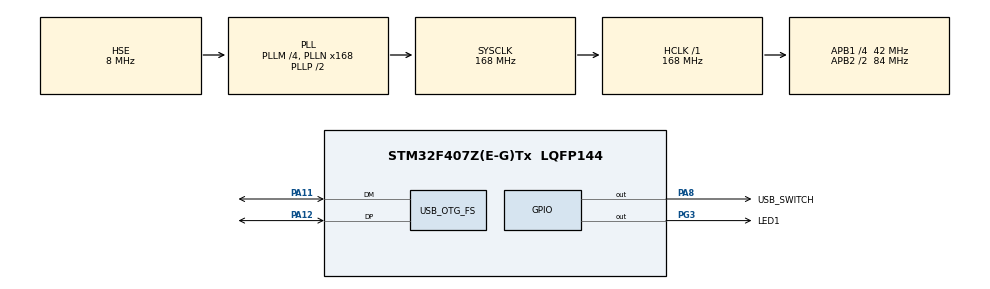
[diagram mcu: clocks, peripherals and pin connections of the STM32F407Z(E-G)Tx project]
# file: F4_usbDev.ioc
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Mcu.Family=STM32F4
Mcu.Name=STM32F407Z(E-G)Tx
Mcu.Package=LQFP144
NVIC.OTG_FS_IRQn=true\:0\:0\:false\:false\:true\:false\:true
NVIC.PriorityGroup=NVIC_PRIORITYGROUP_4
PA11.Mode=Device_Only
PA11.Signal=USB_OTG_FS_DM
PA12.GPIO_PuPd=GPIO_PULLUP
PA12.Mode=Device_Only
PA12.Signal=USB_OTG_FS_DP
PA13.Mode=Serial_Wire
PA13.Signal=SYS_JTMS-SWDIO
PA14.Mode=Serial_Wire
PA14.Signal=SYS_JTCK-SWCLK
PA8.GPIO_Label=USB_SWITCH
PA8.Signal=GPIO_Output
PC14-OSC32_IN.Mode=LSE-External-Oscillator
PC14-OSC32_IN.Signal=RCC_OSC32_IN
PC15-OSC32_OUT.Mode=LSE-External-Oscillator
PC15-OSC32_OUT.Signal=RCC_OSC32_OUT
PG3.GPIO_Label=LED1
PG3.Signal=GPIO_Output
PH0-OSC_IN.Mode=HSE-External-Oscillator
PH0-OSC_IN.Signal=RCC_OSC_IN
PH1-OSC_OUT.Mode=HSE-External-Oscillator
PH1-OSC_OUT.Signal=RCC_OSC_OUT
ProjectManager.HeapSize=0x200
ProjectManager.StackSize=0x400
ProjectManager.TargetToolchain=STM32CubeIDE
RCC.48MHZClocksFreq_Value=48000000
RCC.AHBFreq_Value=168000000
RCC.APB1CLKDivider=RCC_HCLK_DIV4
RCC.APB1Freq_Value=42000000
RCC.APB1TimFreq_Value=84000000
RCC.APB2CLKDivider=RCC_HCLK_DIV2
RCC.APB2Freq_Value=84000000
RCC.APB2TimFreq_Value=168000000
RCC.CortexFreq_Value=168000000
RCC.HCLKFreq_Value=168000000
RCC.HSE_VALUE=8000000
RCC.HSI_VALUE=16000000
RCC.PLLM=4
RCC.PLLN=168
RCC.PLLQ=7
RCC.SYSCLKFreq_VALUE=168000000
RCC.SYSCLKSource=RCC_SYSCLKSOURCE_PLLCLK
RCC.VCOOutputFreq_Value=336000000
USB_DEVICE.CLASS_NAME_FS=HID
USB_DEVICE.VirtualMode-HID_FS=Hid
USB_DEVICE.VirtualModeFS=Hid_FS
USB_OTG_FS.VirtualMode=Device_Only
VP_USB_DEVICE_VS_USB_DEVICE_HID_FS.Mode=HID_FS
board=custom

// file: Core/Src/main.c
/* USER CODE BEGIN Header */
/**
  ******************************************************************************
  * @file           : main.c
  * @brief          : Main program body
  ******************************************************************************
  * @attention
  *
  * <h2><center>&copy; Copyright (c) 2020 STMicroelectronics.
  * All rights reserved.</center></h2>
  *
  * This software component is licensed by ST under BSD 3-Clause license,
  * the "License"; You may not use this file except in compliance with the
  * License. You may obtain a copy of the License at:
  *                        opensource.org/licenses/BSD-3-Clause
  *
  ******************************************************************************
  */
/* USER CODE END Header */

#include "main.h"
#include "usb_device.h"
#include "gpio.h"

/* USER CODE BEGIN Includes */
#include "usbd_hid.h"
#include "usb_device.h"
/* USER CODE END Includes */

/* USER CODE BEGIN PTD */
struct mouseHID_t {
	unsigned char reportid;
	unsigned char buttons;
	char x;
	char y;
	char wheel;
  };
/* USER CODE END PTD */

void SystemClock_Config(void);

int main(void)
{

  /* MCU Configuration--------------------------------------------------------*/

  /* Reset of all peripherals, Initializes the Flash interface and the Systick. */
  HAL_Init();

  /* Configure the system clock */
  SystemClock_Config();

  /* Initialize all configured peripherals */
  MX_GPIO_Init();
  MX_USB_DEVICE_Init();
  /* USER CODE BEGIN 2 */

  HAL_Delay(1000);
  HAL_GPIO_WritePin(USB_SWITCH_GPIO_Port, USB_SWITCH_Pin, GPIO_PIN_RESET);

  struct mouseHID_t mouseHID;
  mouseHID.reportid=2;
  mouseHID.buttons = 0;
  mouseHID.x = 10;
  mouseHID.y = 0;
  mouseHID.wheel = 0;
  //uint8_t txbuffer[8]= {0x00,0x00,0x00,0x00,0x00,0x00,0x00,0x00};
  //uint8_t	sendbuffer[8]={0x00,0x00,0x2c,0x00,0x00,0x00,0x00,0x00};
  HAL_Delay(5000);
  /* USER CODE END 2 */

  /* Infinite loop */
  /* USER CODE BEGIN WHILE */
  while (1)
  {
	  HAL_GPIO_TogglePin(LED1_GPIO_Port, LED1_Pin);
	  //HAL_Delay(100); //延迟 100ms
	//  if(hUsbDeviceFS.dev_state!=USBD_STATE_CONFIGURED)
	  //  {
	 //     HAL_Delay(1000);
	 //     continue;
	  //  }
	    USBD_HID_SendReport(&hUsbDeviceFS,(uint8_t *)&mouseHID,sizeof(mouseHID));

	   // USBD_HID_SendReport(&hUsbDeviceFS,sendbuffer,8);//发送报文
	  //  USBD_HID_SendReport(&hUsbDeviceFS,txbuffer,8);//发送报文
    /* USER CODE END WHILE */

  }
}

void SystemClock_Config(void)
{
  RCC_OscInitTypeDef RCC_OscInitStruct = {0};
  RCC_ClkInitTypeDef RCC_ClkInitStruct = {0};

  /** Configure the main internal regulator output voltage
  */
  __HAL_RCC_PWR_CLK_ENABLE();
  __HAL_PWR_VOLTAGESCALING_CONFIG(PWR_REGULATOR_VOLTAGE_SCALE1);
  /** Initializes the CPU, AHB and APB busses clocks
  */
  RCC_OscInitStruct.OscillatorType = RCC_OSCILLATORTYPE_HSE;
  RCC_OscInitStruct.HSEState = RCC_HSE_ON;
  RCC_OscInitStruct.PLL.PLLState = RCC_PLL_ON;
  RCC_OscInitStruct.PLL.PLLSource = RCC_PLLSOURCE_HSE;
  RCC_OscInitStruct.PLL.PLLM = 4;
  RCC_OscInitStruct.PLL.PLLN = 168;
  RCC_OscInitStruct.PLL.PLLP = RCC_PLLP_DIV2;
  RCC_OscInitStruct.PLL.PLLQ = 7;
  if (HAL_RCC_OscConfig(&RCC_OscInitStruct) != HAL_OK)
  {
    Error_Handler();
  }
  /** Initializes the CPU, AHB and APB busses clocks
  */
  RCC_ClkInitStruct.ClockType = RCC_CLOCKTYPE_HCLK|RCC_CLOCKTYPE_SYSCLK
                              |RCC_CLOCKTYPE_PCLK1|RCC_CLOCKTYPE_PCLK2;
  RCC_ClkInitStruct.SYSCLKSource = RCC_SYSCLKSOURCE_PLLCLK;
  RCC_ClkInitStruct.AHBCLKDivider = RCC_SYSCLK_DIV1;
  RCC_ClkInitStruct.APB1CLKDivider = RCC_HCLK_DIV4;
  RCC_ClkInitStruct.APB2CLKDivider = RCC_HCLK_DIV2;

  if (HAL_RCC_ClockConfig(&RCC_ClkInitStruct, FLASH_LATENCY_5) != HAL_OK)
  {
    Error_Handler();
  }
}

void Error_Handler(void)
{
}

/************************ (C) COPYRIGHT STMicroelectronics *****END OF FILE****/
